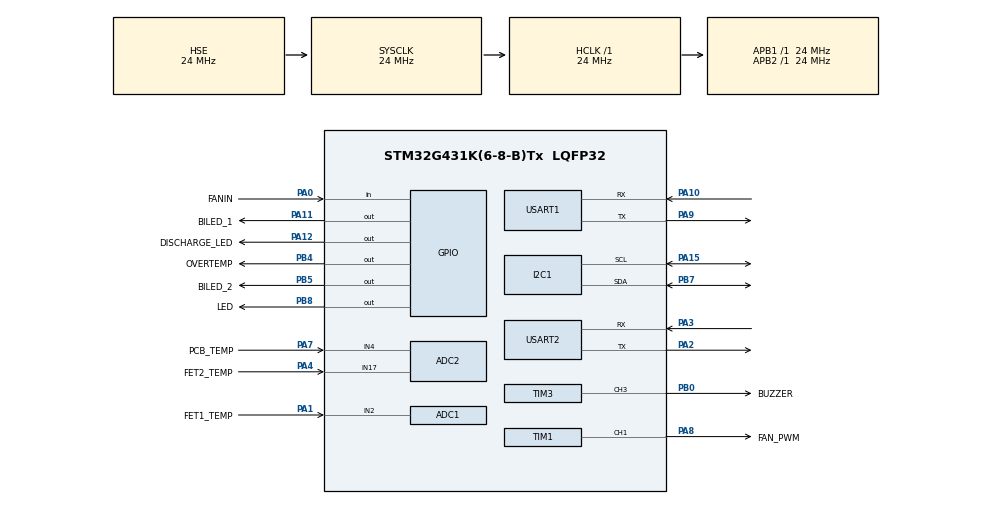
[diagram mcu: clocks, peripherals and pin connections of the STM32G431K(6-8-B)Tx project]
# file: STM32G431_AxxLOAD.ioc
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ADC1.Channel-0\#ChannelRegularConversion=ADC_CHANNEL_2
ADC1.NbrOfConversionFlag=1
ADC1.OffsetNumber-0\#ChannelRegularConversion=ADC_OFFSET_NONE
ADC1.Rank-0\#ChannelRegularConversion=1
ADC1.SamplingTime-0\#ChannelRegularConversion=ADC_SAMPLETIME_2CYCLES_5
ADC1.master=1
ADC2.Channel-2\#ChannelRegularConversion=ADC_CHANNEL_17
ADC2.NbrOfConversionFlag=1
ADC2.OffsetNumber-2\#ChannelRegularConversion=ADC_OFFSET_NONE
ADC2.Rank-2\#ChannelRegularConversion=1
ADC2.SamplingTime-2\#ChannelRegularConversion=ADC_SAMPLETIME_2CYCLES_5
Dma.Request0=USART2_RX
Dma.USART2_RX.0.Direction=DMA_PERIPH_TO_MEMORY
Dma.USART2_RX.0.EventEnable=DISABLE
Dma.USART2_RX.0.Instance=DMA1_Channel1
Dma.USART2_RX.0.MemDataAlignment=DMA_MDATAALIGN_BYTE
Dma.USART2_RX.0.MemInc=DMA_MINC_ENABLE
Dma.USART2_RX.0.Mode=DMA_NORMAL
Dma.USART2_RX.0.PeriphDataAlignment=DMA_PDATAALIGN_BYTE
Dma.USART2_RX.0.PeriphInc=DMA_PINC_DISABLE
Dma.USART2_RX.0.Polarity=HAL_DMAMUX_REQ_GEN_RISING
Dma.USART2_RX.0.Priority=DMA_PRIORITY_LOW
Dma.USART2_RX.0.RequestNumber=1
Dma.USART2_RX.0.SignalID=NONE
Dma.USART2_RX.0.SyncEnable=DISABLE
Dma.USART2_RX.0.SyncPolarity=HAL_DMAMUX_SYNC_NO_EVENT
Dma.USART2_RX.0.SyncRequestNumber=1
Dma.USART2_RX.0.SyncSignalID=NONE
I2C1.Timing=0x00506682
Mcu.Family=STM32G4
Mcu.Name=STM32G431K(6-8-B)Tx
Mcu.Package=LQFP32
NVIC.DMA1_Channel1_IRQn=true\:0\:0\:false\:false\:true\:false\:true
NVIC.PriorityGroup=NVIC_PRIORITYGROUP_4
NVIC.USART2_IRQn=true\:0\:0\:false\:false\:true\:true\:true
PA0.GPIO_Label=FANIN
PA0.Signal=GPIO_Input
PA1.GPIO_Label=FET1_TEMP
PA1.Mode=IN2-Single-Ended
PA1.Signal=ADC1_IN2
PA10.Mode=Asynchronous
PA10.Signal=USART1_RX
PA11.GPIO_Label=BILED_1
PA11.Signal=GPIO_Output
PA12.GPIO_Label=DISCHARGE_LED
PA12.Signal=GPIO_Output
PA15.Mode=I2C
PA15.Signal=I2C1_SCL
PA2.Mode=Asynchronous
PA2.Signal=USART2_TX
PA3.Mode=Asynchronous
PA3.Signal=USART2_RX
PA4.GPIO_Label=FET2_TEMP
PA4.Mode=IN17-Single-Ended
PA4.Signal=ADC2_IN17
PA7.GPIO_Label=PCB_TEMP
PA7.Mode=IN4-Single-Ended
PA7.Signal=ADC2_IN4
PA8.GPIO_Label=FAN_PWM
PA8.Signal=S_TIM1_CH1
PA9.Mode=Asynchronous
PA9.Signal=USART1_TX
PB0.GPIO_Label=BUZZER
PB0.Signal=S_TIM3_CH3
PB4.GPIO_Label=OVERTEMP
PB4.Signal=GPIO_Output
PB5.GPIO_Label=BILED_2
PB5.Signal=GPIO_Output
PB7.Mode=I2C
PB7.Signal=I2C1_SDA
PB8-BOOT0.GPIO_Label=LED
PB8-BOOT0.Signal=GPIO_Output
PF0-OSC_IN.Mode=HSE-External-Oscillator
PF0-OSC_IN.Signal=RCC_OSC_IN
PF1-OSC_OUT.Mode=HSE-External-Oscillator
PF1-OSC_OUT.Signal=RCC_OSC_OUT
ProjectManager.HeapSize=0x200
ProjectManager.StackSize=0x400
ProjectManager.TargetToolchain=STM32CubeIDE
RCC.ADC12Freq_Value=24000000
RCC.AHBFreq_Value=24000000
RCC.APB1Freq_Value=24000000
RCC.APB1TimFreq_Value=24000000
RCC.APB2Freq_Value=24000000
RCC.APB2TimFreq_Value=24000000
RCC.CortexFreq_Value=24000000
RCC.EXTERNAL_CLOCK_VALUE=12288000
RCC.HCLKFreq_Value=24000000
RCC.HSE_VALUE=24000000
RCC.HSI48_VALUE=48000000
RCC.HSI_VALUE=16000000
RCC.LSE_VALUE=32768
RCC.PLLSourceVirtual=RCC_PLLSOURCE_HSE
RCC.SYSCLKFreq_VALUE=24000000
RCC.SYSCLKSource=RCC_SYSCLKSOURCE_HSE
RCC.USBFreq_Value=96000000
RCC.VCOOutputFreq_Value=192000000
SH.S_TIM1_CH1.0=TIM1_CH1,PWM Generation1 CH1
SH.S_TIM3_CH3.0=TIM3_CH3,PWM Generation3 CH3
TIM1.AutoReloadPreload=TIM_AUTORELOAD_PRELOAD_ENABLE
TIM1.Channel-PWM\ Generation1\ CH1=TIM_CHANNEL_1
TIM1.PeriodNoDither=1000
TIM1.Prescaler=16-1
TIM2.AutoReloadPreload=TIM_AUTORELOAD_PRELOAD_ENABLE
TIM2.PeriodNoDither=10
TIM2.Prescaler=610
TIM3.AutoReloadPreload=TIM_AUTORELOAD_PRELOAD_ENABLE
TIM3.Channel-PWM\ Generation3\ CH3=TIM_CHANNEL_3
TIM3.PeriodNoDither=100
TIM3.Prescaler=500
TIM4.AutoReloadPreload=TIM_AUTORELOAD_PRELOAD_ENABLE
TIM4.PeriodNoDither=100-1
TIM4.Prescaler=24
USART1.VirtualMode-Asynchronous=VM_ASYNC
USART2.VirtualMode-Asynchronous=VM_ASYNC
VP_SYS_VS_DBSignals.Mode=DisableDeadBatterySignals
VP_TIM1_VS_ClockSourceINT.Mode=Internal
VP_TIM2_VS_ClockSourceINT.Mode=Internal
VP_TIM3_VS_ClockSourceINT.Mode=Internal
VP_TIM4_VS_ClockSourceINT.Mode=Internal
board=custom

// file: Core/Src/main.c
/* USER CODE BEGIN Header */
/**
  ******************************************************************************
  * @file           : main.c
  * @brief          : Main program body
  ******************************************************************************
  * @attention
  *
  * <h2><center>&copy; Copyright (c) 2020 STMicroelectronics.
  * All rights reserved.</center></h2>
  *
  * This software component is licensed by ST under BSD 3-Clause license,
  * the "License"; You may not use this file except in compliance with the
  * License. You may obtain a copy of the License at:
  *                        opensource.org/licenses/BSD-3-Clause
  *
  ******************************************************************************
  */

/* USER CODE END Header */
#include "main.h"

/* USER CODE BEGIN Includes */
#include "string.h"
#include <stdbool.h>

/* USER CODE END Includes */

/* USER CODE BEGIN PD */
volatile int line_valid = 0;
#define LINEMAX 16 // Maximal allowed/expected line length
static char line_buffer[LINEMAX]; // Holding buffer with space for terminating NUL
static char rx_buffer[LINEMAX]; // Local holding buffer to build line
void substring(char [], char[], int, int);
/* USER CODE END PD */

ADC_HandleTypeDef hadc1;
ADC_HandleTypeDef hadc2;

I2C_HandleTypeDef hi2c1;

TIM_HandleTypeDef htim1;
TIM_HandleTypeDef htim2;
TIM_HandleTypeDef htim3;
TIM_HandleTypeDef htim4;

UART_HandleTypeDef huart1;
UART_HandleTypeDef huart2;
DMA_HandleTypeDef hdma_usart2_rx;

/* USER CODE BEGIN PV */
#define ADS1115_ADDRESS 0x48
int16_t reading;

char byte, rx;
char chardata[15];
uint8_t dimmer=0;
uint16_t command_value = 0;
bool reportStatus = false;
bool CW_MODE = false;
bool CR_MODE = false;
bool PULSE_MODE = false;

bool PULSE_TOGGLE = false;

txDone = true;
autoFanSpeedMode = true;
uint32_t previousMillis = 0;
uint32_t previousMillis_INTEGRATION = 0;
uint32_t previousMillis_PULSE = 0;

uint32_t zeroTimeValue = 0;
uint32_t statusInterval = 500;           // interval at which to blink (milliseconds)
uint32_t integrationTime = 0;
uint32_t milliAmpHours = 0;
uint32_t milliWattHours = 0;
uint16_t setCurrent = 0;           // interval at which to blink (milliseconds)
float voltageCompensationConstant = 3.57081997924;
float currentCompensationConstant = 1.01125769786;
float temperatureCompensationConstant = 1; //VOLT: 1.98 (16 deg) - 0.065 (152 deg)
unsigned char ADSwrite[6];

uint16_t maxTemp = 120;
uint16_t maxAmpDiff = 0;
uint16_t maxWatt = 250;
uint16_t maxCurrent = 20;

uint16_t minVolt = 0;

uint16_t pulseLength = 0;
uint16_t pulseCurrent = 0;

int16_t ADS11115_VOLT = 0;
int16_t ADS11115_CURRENT = 0;
int16_t ADS11115_TEMPERATURE = 0;

struct statusValues {
	uint32_t   timestamp;
	uint16_t   HEATSINK_Temp;
	uint16_t   setCurrent;
	uint16_t   setPower;
	uint16_t   setResistance;
	uint16_t   measuredCurrent;
	uint16_t   measuredVoltage;
	uint16_t   measuredEquivalentResistance;
	uint16_t   MOSFET1_Temp;
	uint16_t   MOSFET2_Temp;
	uint16_t   PCB_Temp;
	uint32_t   measuredPower;
	float   amperehours;
	float   watthours;
	uint16_t fanSpeed;
};

/* USER CODE END PV */

void SystemClock_Config(void);
static void MX_GPIO_Init(void);
static void MX_DMA_Init(void);
static void MX_I2C1_Init(void);
static void MX_TIM1_Init(void);
static void MX_USART2_UART_Init(void);
static void MX_TIM4_Init(void);
static void MX_TIM2_Init(void);
static void MX_ADC1_Init(void);
static void MX_ADC2_Init(void);
static void MX_TIM3_Init(void);
static void MX_USART1_UART_Init(void);
/* USER CODE BEGIN PFP */
USART2_IRQHandler();
/* USER CODE END PFP */

/* USER CODE BEGIN 0 */

void HAL_UART_TxCpltCallback(UART_HandleTypeDef *UartHandle){
	/* Set transmission flag: transfer complete */
	txDone = true;
}

// This callback is called by the HAL_UART_IRQHandler when the given number of bytes are received
void HAL_UART_RxCpltCallback(UART_HandleTypeDef *huart){
	HAL_UART_Receive_IT(&huart2, &byte, 1);//Restart the interrupt reception mode
	static int rx_index = 0;
	//if (USART_GetITStatus(USART2, USART_IT_RXNE) != RESET) // Received character?
	if (huart->Instance == USART2)
	{
		//char rx = HAL_UART_Receive_IT(&huart2, &byte, 1);
		//HAL_UART_Transmit(&huart2, &byte, 1, 10);
		rx = byte;
		if ((rx == '\r') || (rx == '\n')) // Is this an end-of-line condition, either will suffice?
		{
			if (rx_index != 0) // Line has some content?
			{
				memcpy((void *)line_buffer, rx_buffer, rx_index); // Copy to static line buffer from dynamic receive buffer
				line_buffer[rx_index] = 0; // Add terminating NUL
				line_valid = 1; // flag new line valid for processing
				rx_index = 0; // Reset content pointer
				memset(&rx_buffer, '\0', sizeof(rx_buffer));
			}
		}
		else
		{
			if (rx_index == LINEMAX) // If overflows pull back to start
				rx_index = 0;
			rx_buffer[rx_index++] = rx; // Copy to buffer and increment
		}
	}
}

/* USER CODE END 0 */

int main(void)
{
  /* USER CODE BEGIN 1 */
	//Connect ADDR pin to GND and I2C slave adress will be 0X48 .
	unsigned char ADSwrite[6];
	int16_t voltage[3];
	struct statusValues my_statusValues;        /* Declare Book1 of type Book */
	my_statusValues.amperehours=0;
	my_statusValues.watthours=0;
	my_statusValues.setCurrent=0;
  /* USER CODE END 1 */

  /* MCU Configuration--------------------------------------------------------*/

  /* Reset of all peripherals, Initializes the Flash interface and the Systick. */
  HAL_Init();

  /* Configure the system clock */
  SystemClock_Config();

  /* Initialize all configured peripherals */
  MX_GPIO_Init();
  MX_DMA_Init();
  MX_I2C1_Init();
  MX_TIM1_Init();
  MX_USART2_UART_Init();
  MX_TIM4_Init();
  MX_TIM2_Init();
  MX_ADC1_Init();
  MX_ADC2_Init();
  MX_TIM3_Init();
  MX_USART1_UART_Init();
  /* USER CODE BEGIN 2 */
  HAL_TIM_Base_Start(&htim1);
  HAL_TIM_PWM_Start(&htim1,TIM_CHANNEL_1); //Start Pwm signal on PB-6 Pin

  HAL_TIM_Base_Start(&htim3);
  HAL_TIM_PWM_Start(&htim3,TIM_CHANNEL_3); //Start Pwm signal on PB-6 Pin

  HAL_UART_Receive_IT(&huart2, &byte, 1);//Start the interrupt reception mode
  /* USER CODE END 2 */

  /* Infinite loop */
  while (1)
  {

    /* USER CODE BEGIN 3 */
	    for(int i=0; i< 3; i++){
	    	ADSwrite[0] = 0x01;
	    				switch(i){
	    					case(0):
	    						ADSwrite[1] = 0xC1; //11000001
	    					break;
	    					case(1):
	    						ADSwrite[1] = 0xD1; //11010001
	    					break;
	    					case(2):
								ADSwrite[1] = 0xF1;//ADSwrite[1] = 0xE1;
	    					break;
	    				}

	    				ADSwrite[2] = 0x83; //10000011 LSB

	    				HAL_I2C_Master_Transmit(&hi2c1, ADS1115_ADDRESS << 1, ADSwrite, 3, 100);
	    				ADSwrite[0] = 0x00;
	    				HAL_I2C_Master_Transmit(&hi2c1, ADS1115_ADDRESS << 1 , ADSwrite, 1 ,100);
	    				HAL_Delay(10);//20

	    				HAL_I2C_Master_Receive(&hi2c1, ADS1115_ADDRESS <<1, ADSwrite, 2, 100);
	    				reading = (ADSwrite[0] << 8 | ADSwrite[1] );
	    				if(reading < 0) {
	    					reading = 0;
	    				}

	    				voltage[i] = reading;
	    		}

	    // Get ADC value
	HAL_ADC_Start(&hadc1);
	HAL_ADC_PollForConversion(&hadc1, HAL_MAX_DELAY);
	my_statusValues.MOSFET1_Temp = adc2Temperature(HAL_ADC_GetValue(&hadc1),3500);

	HAL_ADC_Start(&hadc2);
	HAL_ADC_PollForConversion(&hadc2, HAL_MAX_DELAY);
	my_statusValues.MOSFET2_Temp = adc2Temperature(HAL_ADC_GetValue(&hadc2),3500);

	HAL_ADC_PollForConversion(&hadc2, HAL_MAX_DELAY);
	my_statusValues.PCB_Temp = adc2Temperature(HAL_ADC_GetValue(&hadc2),3500);

	my_statusValues.measuredVoltage = voltage[0] * voltageCompensationConstant;
	my_statusValues.measuredCurrent = voltage[1] * currentCompensationConstant;
	my_statusValues.measuredEquivalentResistance = 1000*my_statusValues.measuredVoltage/my_statusValues.measuredCurrent;
	my_statusValues.HEATSINK_Temp = adc2Temperature(voltage[2],16628);

	my_statusValues.measuredPower = (my_statusValues.measuredVoltage*my_statusValues.measuredCurrent)/1000;
	my_statusValues.timestamp = (HAL_GetTick()-zeroTimeValue);

	integrationTime = HAL_GetTick()-previousMillis_INTEGRATION;
	my_statusValues.amperehours = my_statusValues.amperehours + integrationTime * my_statusValues.measuredCurrent/3600000.0;
	my_statusValues.watthours = my_statusValues.watthours + (integrationTime * my_statusValues.measuredCurrent/3600000.0) * (my_statusValues.measuredVoltage /1000.0);
	previousMillis_INTEGRATION = HAL_GetTick();

	//Set current by setting voltage drop over shunt
	MCP4725_write(&hi2c1, my_statusValues.setCurrent);

	if (line_valid==1){ // A new line has arrived
		BEEP(&htim3);
		line_valid = 0; // clear pending flag
		debugPrint(&huart2, "Sent command: ");
		debugPrintln(&huart2, line_buffer);
		int i = 0;
		char *p = strtok (line_buffer, " ");
		char *array[4];

		while (p != NULL){
			array[i++] = p;
			p = strtok (NULL, " ");}

		if((strncmp(array[0], "??" ,10) == 0) ||  (strncmp(array[0], "help" ,10) == 0) || (strncmp(array[0], "h" ,10) == 0)){
			printHELP(&huart2,my_statusValues);}

		else if(strncmp(array[0], "fs" ,10) == 0){
			if ((strncmp(array[1], "A" ,10) == 0) || (strncmp(array[1], "a" ,10) == 0)){
				autoFanSpeedMode=true;
				debugPrintln(&huart2, "Setting fan speed to Auto");}
			else{
				my_statusValues.fanSpeed = stringToInt(array[1]);
				setFanSpeed(&huart2, &htim1, my_statusValues);
				autoFanSpeedMode=false;
			}
		}

		else if(strncmp(array[0], "mv" ,10) == 0){
			command_value = stringToInt(array[1]);
			minVolt = command_value;
			debugPrint(&huart2, "Setting min voltage to: ");
			debugPrint(&huart2, array[1]);
			debugPrintln(&huart2, "mV");
			}

		else if(strncmp(array[0], "pm" ,10) == 0){
			command_value = stringToInt(array[1]);
			pulseLength = command_value;
			command_value = stringToInt(array[2]);
			pulseCurrent = command_value;

			debugPrint(&huart2, "Setting Pulse Length to: ");
			debugPrint(&huart2, array[1]);
			debugPrintln(&huart2, " ms");

			debugPrint(&huart2, "Setting Pulse Current to: ");
			debugPrint(&huart2, array[2]);
			debugPrintln(&huart2, " mA");

			PULSE_MODE = true;
			reportStatus = true;
			}

		else if(strncmp(array[0], "cc" ,10) == 0){
			if (stringToInt(array[1]) <= 20000){
				my_statusValues.setCurrent = stringToInt(array[1]);
				reportStatus = true;
				CW_MODE = false;
				CR_MODE = false;
				PULSE_MODE = false;
			}

			else{
				debugPrintln(&huart2, "Requested current is too high... Max current is 20 A");}
			}

		else if(strncmp(array[0], "cp" ,10) == 0){
			my_statusValues.setPower = stringToInt(array[1]);
			if (my_statusValues.setPower <= 250){
				reportStatus = true;
				CW_MODE = true;
				CR_MODE = false;
				PULSE_MODE = false;
			}
			else{
				debugPrintln(&huart2, "Requested power is too high... Max power is 250 W");}
			}

		else if(strncmp(array[0], "cr" ,10) == 0){
			if (stringToInt(array[1]) > 0){
				my_statusValues.setResistance = stringToInt(array[1]);
			}
			else {
				debugPrintln(&huart2, "Hey, can't divide with Zero!");
			}

			reportStatus = true;
			CR_MODE = true;
			CW_MODE = false;
			PULSE_MODE = false;
		}

		else if(strncmp(array[0], "status" ,10) == 0){
			printStatus(my_statusValues, &huart2);
		}

		else if((strncmp(array[0], "stop" ,10) == 0) || strncmp(array[0], "s" ,10) == 0){
			reportStatus = false;
			my_statusValues.setCurrent = 0;
			CW_MODE = false;
			CR_MODE = false;
			PULSE_MODE = false;
			debugPrintln(&huart2, "Received STOP, STOPPING.....");
			printStatus(my_statusValues, &huart2);

		}

		else if(strncmp(array[0], "reset" ,10) == 0){
			debugPrintln(&huart2, "Resetting mAh, mWh and time");
			my_statusValues.amperehours=0;
			my_statusValues.watthours=0;
			zeroTimeValue = HAL_GetTick();
		}

		else if(strncmp(array[0], "log" ,10) == 0){
			statusInterval=stringToInt(array[1]);
		}

		else{
			debugPrintln(&huart2, "Unknown command..., showing HELP");
			printHELP(&huart2,my_statusValues);}
			memset(&line_buffer, '\0', sizeof(line_buffer));
		}

	  HAL_GPIO_TogglePin(GPIOB, LED_Pin); //Toggle LED
	  //HAL_GPIO_TogglePin(GPIOA,  DISCHARGE_LED_Pin); //Toggle LED
	  //HAL_GPIO_TogglePin(GPIOB,  OVERTEMP_Pin);

	  if(PULSE_MODE){
		  if(HAL_GetTick() - previousMillis_PULSE >= pulseLength){
			  if (PULSE_TOGGLE){
				  PULSE_TOGGLE = false;
				  my_statusValues.setCurrent = pulseCurrent;
				  HAL_GPIO_TogglePin(GPIOA, BILED_1_Pin); //Toggle LED
			  }
			  else{
				  PULSE_TOGGLE = true;
				  my_statusValues.setCurrent = 0;
				  HAL_GPIO_TogglePin(GPIOA, BILED_2_Pin); //Toggle LED
			  }
			  previousMillis_PULSE = HAL_GetTick();
		  }
	  }

	  if(CW_MODE){
		  my_statusValues.setCurrent = 1000000.0*my_statusValues.setPower/my_statusValues.measuredVoltage;
	  }

	  if(CR_MODE){
		  my_statusValues.setCurrent = 1000*my_statusValues.measuredVoltage/my_statusValues.setResistance;
	  }

	  if(reportStatus){
		  if(HAL_GetTick() - previousMillis >= statusInterval){
			  printStatus(my_statusValues, &huart2);
				previousMillis = HAL_GetTick();
		  }
	  }

	  if (autoFanSpeedMode){
		  my_statusValues.fanSpeed = 1.7*(my_statusValues.HEATSINK_Temp/10.0)-36;
			if (my_statusValues.fanSpeed <= 15){
				my_statusValues.fanSpeed = 0;
			}

			if (my_statusValues.fanSpeed >= 100){
				my_statusValues.fanSpeed = 100;
			}
			autoFanSpeed(my_statusValues, &htim1);
	  }

	  if(my_statusValues.measuredVoltage<minVolt){
			my_statusValues.setCurrent = 0;
			reportStatus = false;
			BEEP(&htim3);
		  	debugPrintln(&huart2, "Min voltage reached. Stopped discharge");
	  }

	  if(my_statusValues.measuredPower/1000>maxWatt){
			my_statusValues.setCurrent = 0;
			reportStatus = false;
			BEEP(&htim3);
			debugPrintln(&huart2, "OVERPOWER, Stopped discharge");
	  }

	  if(my_statusValues.measuredCurrent/1000>maxCurrent){
			my_statusValues.setCurrent = 0;
			reportStatus = false;
			BEEP(&htim3);
			debugPrintln(&huart2, "OVERCURRENT, Stopped discharge");
	  }

	  if((my_statusValues.MOSFET1_Temp>maxTemp*10) || (my_statusValues.MOSFET2_Temp>maxTemp*10)){
			my_statusValues.setCurrent = 0;
			reportStatus = false;
			BEEP(&htim3);
			HAL_Delay(50);
			debugPrintln(&huart2, "OVERTEMP, Stopped discharge");
	  }
  }
  /* USER CODE END 3 */
}

void SystemClock_Config(void)
{
  RCC_OscInitTypeDef RCC_OscInitStruct = {0};
  RCC_ClkInitTypeDef RCC_ClkInitStruct = {0};
  RCC_PeriphCLKInitTypeDef PeriphClkInit = {0};

  /** Configure the main internal regulator output voltage
  */
  HAL_PWREx_ControlVoltageScaling(PWR_REGULATOR_VOLTAGE_SCALE1);
  /** Initializes the RCC Oscillators according to the specified parameters
  * in the RCC_OscInitTypeDef structure.
  */
  RCC_OscInitStruct.OscillatorType = RCC_OSCILLATORTYPE_HSE;
  RCC_OscInitStruct.HSEState = RCC_HSE_ON;
  RCC_OscInitStruct.PLL.PLLState = RCC_PLL_NONE;
  if (HAL_RCC_OscConfig(&RCC_OscInitStruct) != HAL_OK)
  {
    Error_Handler();
  }
  /** Initializes the CPU, AHB and APB buses clocks
  */
  RCC_ClkInitStruct.ClockType = RCC_CLOCKTYPE_HCLK|RCC_CLOCKTYPE_SYSCLK
                              |RCC_CLOCKTYPE_PCLK1|RCC_CLOCKTYPE_PCLK2;
  RCC_ClkInitStruct.SYSCLKSource = RCC_SYSCLKSOURCE_HSE;
  RCC_ClkInitStruct.AHBCLKDivider = RCC_SYSCLK_DIV1;
  RCC_ClkInitStruct.APB1CLKDivider = RCC_HCLK_DIV1;
  RCC_ClkInitStruct.APB2CLKDivider = RCC_HCLK_DIV1;

  if (HAL_RCC_ClockConfig(&RCC_ClkInitStruct, FLASH_LATENCY_0) != HAL_OK)
  {
    Error_Handler();
  }
  /** Initializes the peripherals clocks
  */
  PeriphClkInit.PeriphClockSelection = RCC_PERIPHCLK_USART1|RCC_PERIPHCLK_USART2
                              |RCC_PERIPHCLK_I2C1|RCC_PERIPHCLK_ADC12;
  PeriphClkInit.Usart1ClockSelection = RCC_USART1CLKSOURCE_PCLK2;
  PeriphClkInit.Usart2ClockSelection = RCC_USART2CLKSOURCE_PCLK1;
  PeriphClkInit.I2c1ClockSelection = RCC_I2C1CLKSOURCE_PCLK1;
  PeriphClkInit.Adc12ClockSelection = RCC_ADC12CLKSOURCE_SYSCLK;
  if (HAL_RCCEx_PeriphCLKConfig(&PeriphClkInit) != HAL_OK)
  {
    Error_Handler();
  }
}

static void MX_ADC1_Init(void)
{

  ADC_MultiModeTypeDef multimode = {0};
  ADC_ChannelConfTypeDef sConfig = {0};

  /** Common config
  */
  hadc1.Instance = ADC1;
  hadc1.Init.ClockPrescaler = ADC_CLOCK_SYNC_PCLK_DIV2;
  hadc1.Init.Resolution = ADC_RESOLUTION_12B;
  hadc1.Init.DataAlign = ADC_DATAALIGN_RIGHT;
  hadc1.Init.GainCompensation = 0;
  hadc1.Init.ScanConvMode = ADC_SCAN_DISABLE;
  hadc1.Init.EOCSelection = ADC_EOC_SINGLE_CONV;
  hadc1.Init.LowPowerAutoWait = DISABLE;
  hadc1.Init.ContinuousConvMode = DISABLE;
  hadc1.Init.NbrOfConversion = 1;
  hadc1.Init.DiscontinuousConvMode = DISABLE;
  hadc1.Init.ExternalTrigConv = ADC_SOFTWARE_START;
  hadc1.Init.ExternalTrigConvEdge = ADC_EXTERNALTRIGCONVEDGE_NONE;
  hadc1.Init.DMAContinuousRequests = DISABLE;
  hadc1.Init.Overrun = ADC_OVR_DATA_PRESERVED;
  hadc1.Init.OversamplingMode = DISABLE;
  if (HAL_ADC_Init(&hadc1) != HAL_OK)
  {
    Error_Handler();
  }
  /** Configure the ADC multi-mode
  */
  multimode.Mode = ADC_MODE_INDEPENDENT;
  if (HAL_ADCEx_MultiModeConfigChannel(&hadc1, &multimode) != HAL_OK)
  {
    Error_Handler();
  }
  /** Configure Regular Channel
  */
  sConfig.Channel = ADC_CHANNEL_2;
  sConfig.Rank = ADC_REGULAR_RANK_1;
  sConfig.SamplingTime = ADC_SAMPLETIME_2CYCLES_5;
  sConfig.SingleDiff = ADC_SINGLE_ENDED;
  sConfig.OffsetNumber = ADC_OFFSET_NONE;
  sConfig.Offset = 0;
  if (HAL_ADC_ConfigChannel(&hadc1, &sConfig) != HAL_OK)
  {
    Error_Handler();
  }

}

static void MX_ADC2_Init(void)
{

  ADC_ChannelConfTypeDef sConfig = {0};

  /** Common config
  */
  hadc2.Instance = ADC2;
  hadc2.Init.ClockPrescaler = ADC_CLOCK_SYNC_PCLK_DIV2;
  hadc2.Init.Resolution = ADC_RESOLUTION_12B;
  hadc2.Init.DataAlign = ADC_DATAALIGN_RIGHT;
  hadc2.Init.GainCompensation = 0;
  hadc2.Init.ScanConvMode = ADC_SCAN_DISABLE;
  hadc2.Init.EOCSelection = ADC_EOC_SINGLE_CONV;
  hadc2.Init.LowPowerAutoWait = DISABLE;
  hadc2.Init.ContinuousConvMode = DISABLE;
  hadc2.Init.NbrOfConversion = 1;
  hadc2.Init.DiscontinuousConvMode = DISABLE;
  hadc2.Init.ExternalTrigConv = ADC_SOFTWARE_START;
  hadc2.Init.ExternalTrigConvEdge = ADC_EXTERNALTRIGCONVEDGE_NONE;
  hadc2.Init.DMAContinuousRequests = DISABLE;
  hadc2.Init.Overrun = ADC_OVR_DATA_PRESERVED;
  hadc2.Init.OversamplingMode = DISABLE;
  if (HAL_ADC_Init(&hadc2) != HAL_OK)
  {
    Error_Handler();
  }
  /** Configure Regular Channel
  */
  sConfig.Channel = ADC_CHANNEL_17;
  sConfig.Rank = ADC_REGULAR_RANK_1;
  sConfig.SamplingTime = ADC_SAMPLETIME_2CYCLES_5;
  sConfig.SingleDiff = ADC_SINGLE_ENDED;
  sConfig.OffsetNumber = ADC_OFFSET_NONE;
  sConfig.Offset = 0;
  if (HAL_ADC_ConfigChannel(&hadc2, &sConfig) != HAL_OK)
  {
    Error_Handler();
  }

}

static void MX_I2C1_Init(void)
{

  hi2c1.Instance = I2C1;
  hi2c1.Init.Timing = 0x00506682;
  hi2c1.Init.OwnAddress1 = 0;
  hi2c1.Init.AddressingMode = I2C_ADDRESSINGMODE_7BIT;
  hi2c1.Init.DualAddressMode = I2C_DUALADDRESS_DISABLE;
  hi2c1.Init.OwnAddress2 = 0;
  hi2c1.Init.OwnAddress2Masks = I2C_OA2_NOMASK;
  hi2c1.Init.GeneralCallMode = I2C_GENERALCALL_DISABLE;
  hi2c1.Init.NoStretchMode = I2C_NOSTRETCH_DISABLE;
  if (HAL_I2C_Init(&hi2c1) != HAL_OK)
  {
    Error_Handler();
  }
  /** Configure Analogue filter
  */
  if (HAL_I2CEx_ConfigAnalogFilter(&hi2c1, I2C_ANALOGFILTER_ENABLE) != HAL_OK)
  {
    Error_Handler();
  }
  /** Configure Digital filter
  */
  if (HAL_I2CEx_ConfigDigitalFilter(&hi2c1, 0) != HAL_OK)
  {
    Error_Handler();
  }

}

static void MX_TIM1_Init(void)
{

  TIM_ClockConfigTypeDef sClockSourceConfig = {0};
  TIM_MasterConfigTypeDef sMasterConfig = {0};
  TIM_OC_InitTypeDef sConfigOC = {0};
  TIM_BreakDeadTimeConfigTypeDef sBreakDeadTimeConfig = {0};

  htim1.Instance = TIM1;
  htim1.Init.Prescaler = 16-1;
  htim1.Init.CounterMode = TIM_COUNTERMODE_UP;
  htim1.Init.Period = 1000;
  htim1.Init.ClockDivision = TIM_CLOCKDIVISION_DIV1;
  htim1.Init.RepetitionCounter = 0;
  htim1.Init.AutoReloadPreload = TIM_AUTORELOAD_PRELOAD_ENABLE;
  if (HAL_TIM_Base_Init(&htim1) != HAL_OK)
  {
    Error_Handler();
  }
  sClockSourceConfig.ClockSource = TIM_CLOCKSOURCE_INTERNAL;
  if (HAL_TIM_ConfigClockSource(&htim1, &sClockSourceConfig) != HAL_OK)
  {
    Error_Handler();
  }
  if (HAL_TIM_PWM_Init(&htim1) != HAL_OK)
  {
    Error_Handler();
  }
  sMasterConfig.MasterOutputTrigger = TIM_TRGO_RESET;
  sMasterConfig.MasterOutputTrigger2 = TIM_TRGO2_RESET;
  sMasterConfig.MasterSlaveMode = TIM_MASTERSLAVEMODE_DISABLE;
  if (HAL_TIMEx_MasterConfigSynchronization(&htim1, &sMasterConfig) != HAL_OK)
  {
    Error_Handler();
  }
  sConfigOC.OCMode = TIM_OCMODE_PWM1;
  sConfigOC.Pulse = 0;
  sConfigOC.OCPolarity = TIM_OCPOLARITY_HIGH;
  sConfigOC.OCNPolarity = TIM_OCNPOLARITY_HIGH;
  sConfigOC.OCFastMode = TIM_OCFAST_DISABLE;
  sConfigOC.OCIdleState = TIM_OCIDLESTATE_RESET;
  sConfigOC.OCNIdleState = TIM_OCNIDLESTATE_RESET;
  if (HAL_TIM_PWM_ConfigChannel(&htim1, &sConfigOC, TIM_CHANNEL_1) != HAL_OK)
  {
    Error_Handler();
  }
  sBreakDeadTimeConfig.OffStateRunMode = TIM_OSSR_DISABLE;
  sBreakDeadTimeConfig.OffStateIDLEMode = TIM_OSSI_DISABLE;
  sBreakDeadTimeConfig.LockLevel = TIM_LOCKLEVEL_OFF;
  sBreakDeadTimeConfig.DeadTime = 0;
  sBreakDeadTimeConfig.BreakState = TIM_BREAK_DISABLE;
  sBreakDeadTimeConfig.BreakPolarity = TIM_BREAKPOLARITY_HIGH;
  sBreakDeadTimeConfig.BreakFilter = 0;
  sBreakDeadTimeConfig.BreakAFMode = TIM_BREAK_AFMODE_INPUT;
  sBreakDeadTimeConfig.Break2State = TIM_BREAK2_DISABLE;
  sBreakDeadTimeConfig.Break2Polarity = TIM_BREAK2POLARITY_HIGH;
  sBreakDeadTimeConfig.Break2Filter = 0;
  sBreakDeadTimeConfig.Break2AFMode = TIM_BREAK_AFMODE_INPUT;
  sBreakDeadTimeConfig.AutomaticOutput = TIM_AUTOMATICOUTPUT_DISABLE;
  if (HAL_TIMEx_ConfigBreakDeadTime(&htim1, &sBreakDeadTimeConfig) != HAL_OK)
  {
    Error_Handler();
  }
  HAL_TIM_MspPostInit(&htim1);

}

static void MX_TIM2_Init(void)
{

  TIM_ClockConfigTypeDef sClockSourceConfig = {0};
  TIM_MasterConfigTypeDef sMasterConfig = {0};

  htim2.Instance = TIM2;
  htim2.Init.Prescaler = 610;
  htim2.Init.CounterMode = TIM_COUNTERMODE_UP;
  htim2.Init.Period = 10;
  htim2.Init.ClockDivision = TIM_CLOCKDIVISION_DIV1;
  htim2.Init.AutoReloadPreload = TIM_AUTORELOAD_PRELOAD_ENABLE;
  if (HAL_TIM_Base_Init(&htim2) != HAL_OK)
  {
    Error_Handler();
  }
  sClockSourceConfig.ClockSource = TIM_CLOCKSOURCE_INTERNAL;
  if (HAL_TIM_ConfigClockSource(&htim2, &sClockSourceConfig) != HAL_OK)
  {
    Error_Handler();
  }
  sMasterConfig.MasterOutputTrigger = TIM_TRGO_RESET;
  sMasterConfig.MasterSlaveMode = TIM_MASTERSLAVEMODE_DISABLE;
  if (HAL_TIMEx_MasterConfigSynchronization(&htim2, &sMasterConfig) != HAL_OK)
  {
    Error_Handler();
  }

}

static void MX_TIM3_Init(void)
{

  TIM_ClockConfigTypeDef sClockSourceConfig = {0};
  TIM_MasterConfigTypeDef sMasterConfig = {0};
  TIM_OC_InitTypeDef sConfigOC = {0};

  htim3.Instance = TIM3;
  htim3.Init.Prescaler = 500;
  htim3.Init.CounterMode = TIM_COUNTERMODE_UP;
  htim3.Init.Period = 100;
  htim3.Init.ClockDivision = TIM_CLOCKDIVISION_DIV1;
  htim3.Init.AutoReloadPreload = TIM_AUTORELOAD_PRELOAD_ENABLE;
  if (HAL_TIM_Base_Init(&htim3) != HAL_OK)
  {
    Error_Handler();
  }
  sClockSourceConfig.ClockSource = TIM_CLOCKSOURCE_INTERNAL;
  if (HAL_TIM_ConfigClockSource(&htim3, &sClockSourceConfig) != HAL_OK)
  {
    Error_Handler();
  }
  if (HAL_TIM_PWM_Init(&htim3) != HAL_OK)
  {
    Error_Handler();
  }
  sMasterConfig.MasterOutputTrigger = TIM_TRGO_RESET;
  sMasterConfig.MasterSlaveMode = TIM_MASTERSLAVEMODE_DISABLE;
  if (HAL_TIMEx_MasterConfigSynchronization(&htim3, &sMasterConfig) != HAL_OK)
  {
    Error_Handler();
  }
  sConfigOC.OCMode = TIM_OCMODE_PWM1;
  sConfigOC.Pulse = 0;
  sConfigOC.OCPolarity = TIM_OCPOLARITY_HIGH;
  sConfigOC.OCFastMode = TIM_OCFAST_DISABLE;
  if (HAL_TIM_PWM_ConfigChannel(&htim3, &sConfigOC, TIM_CHANNEL_3) != HAL_OK)
  {
    Error_Handler();
  }
  HAL_TIM_MspPostInit(&htim3);

}

static void MX_TIM4_Init(void)
{

  TIM_ClockConfigTypeDef sClockSourceConfig = {0};
  TIM_MasterConfigTypeDef sMasterConfig = {0};

  htim4.Instance = TIM4;
  htim4.Init.Prescaler = 24;
  htim4.Init.CounterMode = TIM_COUNTERMODE_UP;
  htim4.Init.Period = 99;
  htim4.Init.ClockDivision = TIM_CLOCKDIVISION_DIV1;
  htim4.Init.AutoReloadPreload = TIM_AUTORELOAD_PRELOAD_ENABLE;
  if (HAL_TIM_Base_Init(&htim4) != HAL_OK)
  {
    Error_Handler();
  }
  sClockSourceConfig.ClockSource = TIM_CLOCKSOURCE_INTERNAL;
  if (HAL_TIM_ConfigClockSource(&htim4, &sClockSourceConfig) != HAL_OK)
  {
    Error_Handler();
  }
  sMasterConfig.MasterOutputTrigger = TIM_TRGO_RESET;
  sMasterConfig.MasterSlaveMode = TIM_MASTERSLAVEMODE_DISABLE;
  if (HAL_TIMEx_MasterConfigSynchronization(&htim4, &sMasterConfig) != HAL_OK)
  {
    Error_Handler();
  }

}

static void MX_USART1_UART_Init(void)
{

  huart1.Instance = USART1;
  huart1.Init.BaudRate = 115200;
  huart1.Init.WordLength = UART_WORDLENGTH_8B;
  huart1.Init.StopBits = UART_STOPBITS_1;
  huart1.Init.Parity = UART_PARITY_NONE;
  huart1.Init.Mode = UART_MODE_TX_RX;
  huart1.Init.HwFlowCtl = UART_HWCONTROL_NONE;
  huart1.Init.OverSampling = UART_OVERSAMPLING_16;
  huart1.Init.OneBitSampling = UART_ONE_BIT_SAMPLE_DISABLE;
  huart1.Init.ClockPrescaler = UART_PRESCALER_DIV1;
  huart1.AdvancedInit.AdvFeatureInit = UART_ADVFEATURE_NO_INIT;
  if (HAL_UART_Init(&huart1) != HAL_OK)
  {
    Error_Handler();
  }
  if (HAL_UARTEx_SetTxFifoThreshold(&huart1, UART_TXFIFO_THRESHOLD_1_8) != HAL_OK)
  {
    Error_Handler();
  }
  if (HAL_UARTEx_SetRxFifoThreshold(&huart1, UART_RXFIFO_THRESHOLD_1_8) != HAL_OK)
  {
    Error_Handler();
  }
  if (HAL_UARTEx_DisableFifoMode(&huart1) != HAL_OK)
  {
    Error_Handler();
  }

}

static void MX_USART2_UART_Init(void)
{

  huart2.Instance = USART2;
  huart2.Init.BaudRate = 115200;
  huart2.Init.WordLength = UART_WORDLENGTH_8B;
  huart2.Init.StopBits = UART_STOPBITS_1;
  huart2.Init.Parity = UART_PARITY_NONE;
  huart2.Init.Mode = UART_MODE_TX_RX;
  huart2.Init.HwFlowCtl = UART_HWCONTROL_NONE;
  huart2.Init.OverSampling = UART_OVERSAMPLING_16;
  huart2.Init.OneBitSampling = UART_ONE_BIT_SAMPLE_DISABLE;
  huart2.Init.ClockPrescaler = UART_PRESCALER_DIV1;
  huart2.AdvancedInit.AdvFeatureInit = UART_ADVFEATURE_NO_INIT;
  if (HAL_UART_Init(&huart2) != HAL_OK)
  {
    Error_Handler();
  }
  if (HAL_UARTEx_SetTxFifoThreshold(&huart2, UART_TXFIFO_THRESHOLD_1_8) != HAL_OK)
  {
    Error_Handler();
  }
  if (HAL_UARTEx_SetRxFifoThreshold(&huart2, UART_RXFIFO_THRESHOLD_1_8) != HAL_OK)
  {
    Error_Handler();
  }
  if (HAL_UARTEx_DisableFifoMode(&huart2) != HAL_OK)
  {
    Error_Handler();
  }
  /* USER CODE BEGIN USART2_Init 2 */
  //__HAL_UART_ENABLE_IT(&huart2,UART_IT_RXNE);

  /* USER CODE END USART2_Init 2 */

}

static void MX_DMA_Init(void)
{

  /* DMA controller clock enable */
  __HAL_RCC_DMAMUX1_CLK_ENABLE();
  __HAL_RCC_DMA1_CLK_ENABLE();

  /* DMA interrupt init */
  /* DMA1_Channel1_IRQn interrupt configuration */
  HAL_NVIC_SetPriority(DMA1_Channel1_IRQn, 0, 0);
  HAL_NVIC_EnableIRQ(DMA1_Channel1_IRQn);

}

static void MX_GPIO_Init(void)
{
  GPIO_InitTypeDef GPIO_InitStruct = {0};

  /* GPIO Ports Clock Enable */
  __HAL_RCC_GPIOF_CLK_ENABLE();
  __HAL_RCC_GPIOA_CLK_ENABLE();
  __HAL_RCC_GPIOB_CLK_ENABLE();

  /*Configure GPIO pin Output Level */
  HAL_GPIO_WritePin(GPIOA, BILED_1_Pin|DISCHARGE_LED_Pin, GPIO_PIN_RESET);

  /*Configure GPIO pin Output Level */
  HAL_GPIO_WritePin(GPIOB, OVERTEMP_Pin|BILED_2_Pin|LED_Pin, GPIO_PIN_RESET);

  /*Configure GPIO pin : FANIN_Pin */
  GPIO_InitStruct.Pin = FANIN_Pin;
  GPIO_InitStruct.Mode = GPIO_MODE_INPUT;
  GPIO_InitStruct.Pull = GPIO_NOPULL;
  HAL_GPIO_Init(FANIN_GPIO_Port, &GPIO_InitStruct);

  /*Configure GPIO pins : BILED_1_Pin DISCHARGE_LED_Pin */
  GPIO_InitStruct.Pin = BILED_1_Pin|DISCHARGE_LED_Pin;
  GPIO_InitStruct.Mode = GPIO_MODE_OUTPUT_PP;
  GPIO_InitStruct.Pull = GPIO_NOPULL;
  GPIO_InitStruct.Speed = GPIO_SPEED_FREQ_LOW;
  HAL_GPIO_Init(GPIOA, &GPIO_InitStruct);

  /*Configure GPIO pins : OVERTEMP_Pin BILED_2_Pin LED_Pin */
  GPIO_InitStruct.Pin = OVERTEMP_Pin|BILED_2_Pin|LED_Pin;
  GPIO_InitStruct.Mode = GPIO_MODE_OUTPUT_PP;
  GPIO_InitStruct.Pull = GPIO_NOPULL;
  GPIO_InitStruct.Speed = GPIO_SPEED_FREQ_LOW;
  HAL_GPIO_Init(GPIOB, &GPIO_InitStruct);

}

/* USER CODE BEGIN 4 */
//HAL_GPIO_WritePin(GPIOA, BILED_1_Pin,GPIO_PIN_SET);               //If pressed Led Switch On
//HAL_GPIO_WritePin(GPIOA, BILED_1_Pin,GPIO_PIN_RESET);          //Else Led Switch Off

//HAL_GPIO_WritePin(GPIOA, STATLED_Pin,GPIO_PIN_SET);               //If pressed Led Switch On
//HAL_GPIO_WritePin(GPIOA, STATLED_Pin,GPIO_PIN_RESET);          //Else Led Switch Off
/* USER CODE END 4 */

void Error_Handler(void)
{
}

/************************ (C) COPYRIGHT STMicroelectronics *****END OF FILE****/
